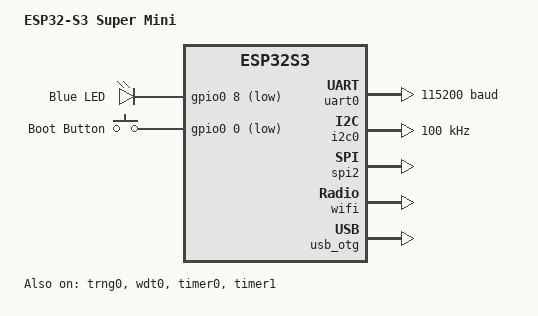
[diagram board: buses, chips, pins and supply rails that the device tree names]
/*
 * Copyright (c) 2026 AkiraOS
 * SPDX-License-Identifier: Apache-2.0
 *
 * ESP32-S3 Super Mini Board Device Tree
 * 
 * Hardware Specifications:
 * - ESP32-S3 Mini N4R2 Module
 * - 4MB Flash
 * - 2MB PSRAM (Quad SPI)
 * - Native USB-C port
 * - Built-in blue LED on GPIO8 (active low)
 * - Boot button on GPIO0
 * - Reset button
 * - 27 GPIO pins available
 */

/dts-v1/;

#include <espressif/esp32s3/esp32s3_mini_n4r2.dtsi>
#include "esp32s3_supermini-pinctrl.dtsi"
#include <zephyr/dt-bindings/gpio/gpio.h>
#include <zephyr/dt-bindings/input/input-event-codes.h>
#include <espressif/partitions_0x0_amp.dtsi>

/ {
	model = "ESP32-S3 Super Mini";
	compatible = "generic,esp32s3-supermini";

	chosen {
		zephyr,sram = &sram1;
		/* Use CDC ACM UART over USB OTG for console.
		 * The ESP32-S3 has one internal USB PHY shared between USB Serial/JTAG
		 * and USB OTG (DWC2). When the USB OTG stack initializes, it switches
		 * the PHY mux away from Serial/JTAG, so usb_serial cannot be used for
		 * console when USB OTG (HID, etc.) is active. CDC ACM provides a
		 * virtual serial port over the same USB OTG controller. */
		zephyr,console = &cdc_acm_uart0;
		zephyr,shell-uart = &cdc_acm_uart0;
		zephyr,flash = &flash0;
		zephyr,code-partition = &slot0_partition;
	};

	aliases {
		i2c-0 = &i2c0;
		watchdog0 = &wdt0;
		led0 = &blue_led;
		sw0 = &boot_button;
	};

	leds {
		compatible = "gpio-leds";

		blue_led: led_0 {
			gpios = <&gpio0 8 GPIO_ACTIVE_LOW>;
			label = "Blue LED";
		};
	};

	gpio_keys {
		compatible = "gpio-keys";

		boot_button: button_0 {
			gpios = <&gpio0 0 (GPIO_PULL_UP | GPIO_ACTIVE_LOW)>;
			label = "Boot Button";
			zephyr,code = <INPUT_KEY_0>;
		};
	};
};

&uart0 {
	status = "okay";
	current-speed = <115200>;
	pinctrl-0 = <&uart0_default>;
	pinctrl-names = "default";
};

&i2c0 {
	status = "okay";
	clock-frequency = <I2C_BITRATE_STANDARD>;
	pinctrl-0 = <&i2c0_default>;
	pinctrl-names = "default";
};

&trng0 {
	status = "okay";
};

&spi2 {
	#address-cells = <1>;
	#size-cells = <0>;
	status = "okay";
	pinctrl-0 = <&spim2_default>;
	pinctrl-names = "default";
};

&gpio0 {
	status = "okay";
};

&gpio1 {
	status = "okay";
};

&wdt0 {
	status = "okay";
};

&twai {
	pinctrl-0 = <&twai_default>;
	pinctrl-names = "default";
};

&timer0 {
	status = "okay";
};

&timer1 {
	status = "okay";
};

&esp32_bt_hci {
	status = "disabled";
};

&wifi {
	status = "okay";
};

&psram0 {
	size = <DT_SIZE_M(2)>;
	status = "okay";
};

// USB OTG Controller - aliased as zephyr_udc0 for USB device stack
// This is the only USB controller that should be active on the Super Mini.
// The internal USB PHY mux is switched to OTG mode when this initializes,
// so usb_serial (Serial/JTAG) is disconnected from the physical USB pins.
zephyr_udc0: &usb_otg {
	status = "okay";

	/* CDC ACM UART - virtual serial port for console and shell */
	cdc_acm_uart0: cdc_acm_uart0 {
		compatible = "zephyr,cdc-acm-uart";
	};
};
